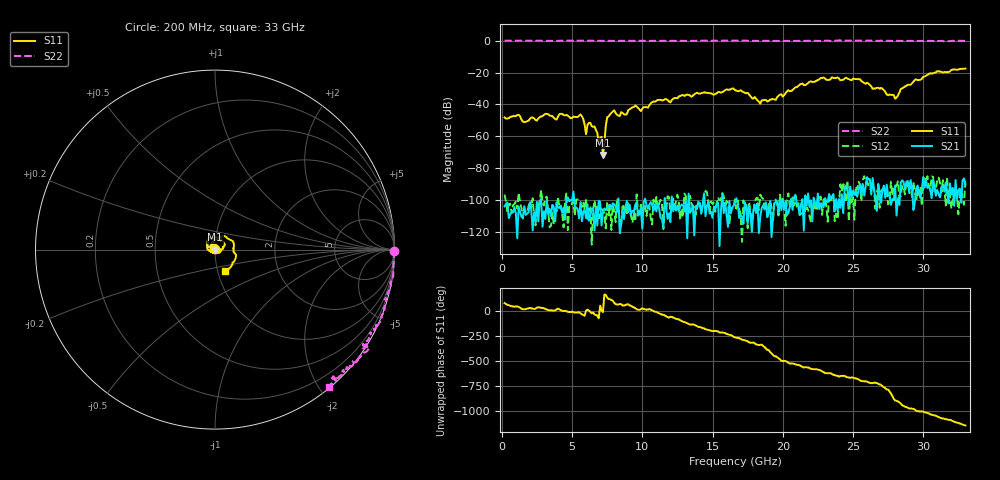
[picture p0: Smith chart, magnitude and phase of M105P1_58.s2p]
# GHZ S RI R 50
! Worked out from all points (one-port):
!   329 points, 200 MHz to 33 GHz, reference 50 ohm
!   lowest |S11| = -71.7 dB at 7.2 GHz (marker M1), VSWR 1.00, Z = 50 - j0.00426 ohm
!   |S11| at or under -10 dB: start of sweep to end of sweep
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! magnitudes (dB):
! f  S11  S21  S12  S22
! 200 MHz  -48.1  -103.9  -96.5  0.0
! 5.7 GHz  -47.4  -113.2  -104.4  0.0
! 6 GHz  -58.6  -111.4  -99.3  0.0
! 6.3 GHz  -51.4  -109.7  -104.3  0.0
! 6.8 GHz  -57.8  -115.9  -104.1  0.0
! 6.9 GHz  -64.4  -100.5  -111.5  0.0
! 7.1 GHz  -60.4  -115.9  -106.0  0.0
! 7.2 GHz  -71.7  -107.1  -105.9  0.0
! 7.5 GHz  -48.0  -104.5  -100.9  -0.1
! 7.9 GHz  -44.4  -102.0  -103.2  0.0
! 8.8 GHz  -46.4  -104.6  -102.7  0.0
! 9.5 GHz  -40.7  -102.9  -113.3  0.0
! 9.9 GHz  -44.2  -104.7  -102.9  -0.1
! 11.2 GHz  -37.1  -105.3  -102.0  -0.1
! 16.6 GHz  -31.0  -101.8  -99.6  0.0
! 18.4 GHz  -39.5  -110.2  -96.5  -0.1
! 22.1 GHz  -25.9  -113.2  -106.2  0.0
! 25.5 GHz  -24.2  -89.9  -90.5  0.0
! 27.6 GHz  -33.7  -97.1  -100.6  0.0
! 28 GHz  -36.4  -90.7  -91.7  -0.1
! 30.4 GHz  -20.7  -91.1  -91.5  -0.1
! 33 GHz  -17.5  -90.3  -88.2  0.0
